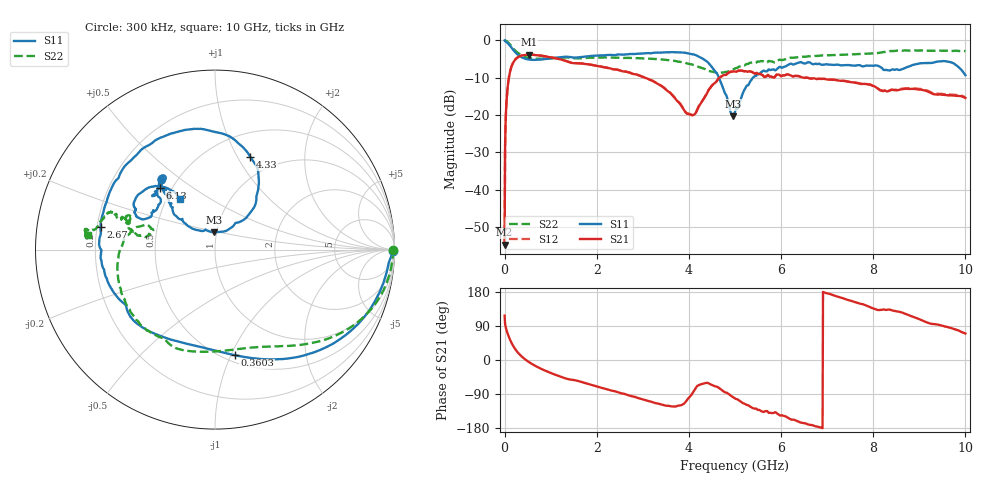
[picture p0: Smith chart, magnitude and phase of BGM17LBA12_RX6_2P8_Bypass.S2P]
!Agilent Technologies,E5071C,MY46316587,B.13.01
!Date: Fri Dec 08 11:15:13 2017
!Data & Calibration Information:
!Freq	S11:SOLT2(ON)	S21:SOLT2(ON)	S12:SOLT2(ON)	S22:SOLT2(ON)
!PortZ  Port1:50+j0  Port2:50+j0
!Above PortZ is port z conversion or system Z0 setting when saving the data.
!When reading, reference impedance value at option line is always used.
# Hz S dB R 50
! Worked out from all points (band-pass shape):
!   1001 points, 300 kHz to 10 GHz, reference 50 ohm
!   highest |S21| = -3.86 dB at 530.3 MHz (marker M1); lowest = -54.7 dB at 300 kHz (marker M2)
!   |S21| within 3 dB of the highest: 155.5 MHz to 2.002 GHz (1.847 GHz wide, 171 % of centre)
!   lowest |S11| = -20.3 dB at 4.96 GHz (marker M3), VSWR 1.21, Z = 48.6 + j9.4 ohm
!   |S11| at or under -10 dB: 4.651 GHz to 5.39 GHz (739.1 MHz wide, 14.7 % of centre)
!   |S22| runs from -8.9 to -0.1 dB; largest |S21 - S12| = 0.006
!   S11 on the Smith chart (normalised r, x): 300 kHz: open; 360.3 MHz: 0.56, -1.03; 2.67 GHz: 0.21, +0.09; 4.33 GHz: 0.77, +1.13; 6.13 GHz: 0.43, +0.38; 10 GHz: 0.59, +0.37
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300000  -0.05 -0.4  -54.68 117.2  -55.05 171.9  -0.07 -0.1
6.02982e7  -0.67 -21.1  -13.33 71.7  -13.25 71.7  -0.40 -16.0
9.02973e7  -1.07 -30.3  -10.24 61.7  -10.20 61.7  -0.75 -23.1
1.902943e8  -2.60 -54.5  -5.91 36.3  -5.88 36.2  -2.20 -41.0
3.602892e8  -4.47 -79.5  -4.14 10.6  -4.12 10.3  -3.99 -58.6
5.302841e8  -5.16 -95.4  -3.86 -5.6  -3.85 -5.7  -4.74 -70.9
1.040269e9  -4.77 -125.8  -4.64 -36.1  -4.62 -36.3  -4.79 -98.6
1.67025e9  -4.46 -151.6  -6.21 -58.1  -6.17 -58.0  -4.80 -121.5
2.67022e9  -3.75 168.7  -8.50 -92.2  -8.49 -91.9  -4.70 -146.9
3.3402e9  -3.32 133.9  -11.80 -115.4  -11.77 -115.1  -5.09 -166.8
4.020179e9  -3.61 91.6  -19.86 -96.8  -19.72 -96.9  -6.36 168.6
4.33017e9  -5.17 69.0  -15.48 -61.6  -15.44 -61.7  -7.61 160.8
4.630161e9  -9.38 48.3  -10.46 -71.8  -10.45 -71.8  -8.87 163.0
4.960151e9  -20.35 93.3  -8.32 -98.5  -8.30 -98.4  -7.76 169.0
5.00015e9  -19.09 110.6  -8.35 -101.6  -8.33 -101.4  -7.55 169.4
5.410138e9  -9.77 136.8  -8.77 -127.9  -8.76 -128.1  -5.89 162.8
6.130116e9  -6.75 131.7  -9.14 -151.1  -9.13 -150.9  -4.87 162.4
6.6701e9  -6.32 124.5  -10.24 -171.7  -10.19 -171.6  -4.24 160.2
8.34005e9  -8.05 144.5  -13.53 133.3  -13.47 133.4  -2.93 171.2
9.420017e9  -5.64 150.1  -14.53 92.9  -14.34 92.7  -2.76 173.3
9.750008e9  -6.21 133.8  -14.79 81.7  -14.58 81.7  -2.85 173.8
1e10  -9.33 124.8  -15.43 70.0  -15.24 70.6  -2.93 173.4
